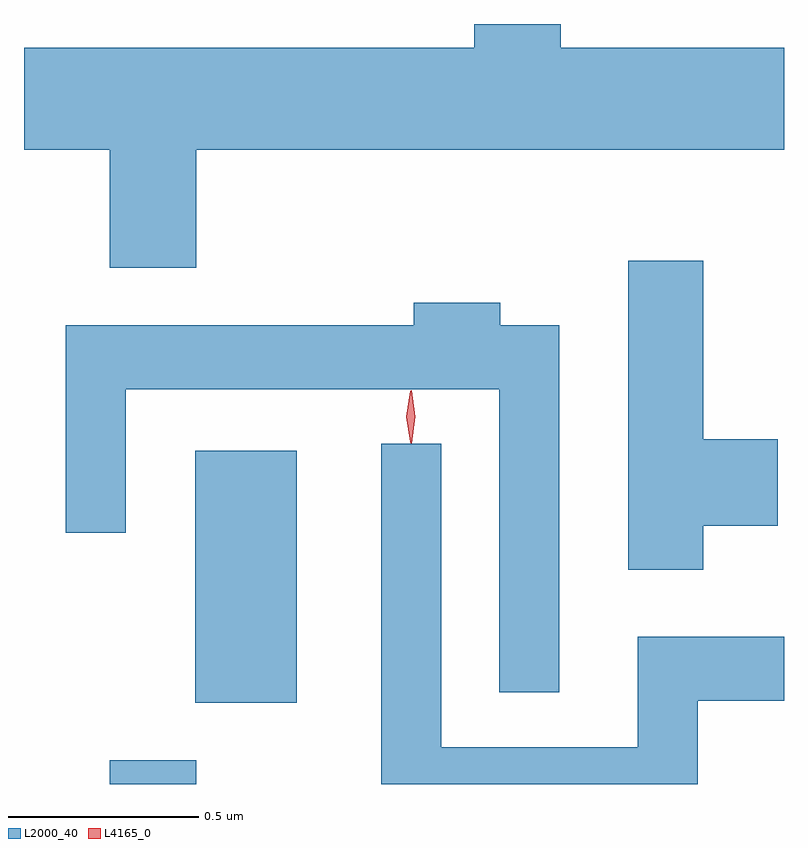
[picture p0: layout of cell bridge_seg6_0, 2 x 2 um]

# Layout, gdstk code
import gdstk
lib = gdstk.Library(unit=1e-6, precision=1e-09)
def R(c, l, rs):  # rectangles x0, y0, x1, y1
    for r in rs: c.add(gdstk.rectangle(r[:2], r[2:], *l))
def P(c, l, *ps):  # polygons
    for p in ps: c.add(gdstk.Polygon(p, *l))
L2000_40 = (2000, 40)
L4165_0 = (4165, 0)

bridge_seg6_0 = lib.new_cell('bridge_seg6_0')
R(bridge_seg6_0, L2000_40, [(1470.081,1634.947,1470.309,1635.009), (1470.306,1635.161,1470.574,1635.824)])
P(bridge_seg6_0, L2000_40, [(1469.856,1636.616),(1470.081,1636.616),(1470.081,1636.306),(1470.309,1636.306),(1470.309,1636.616),(1471.856,1636.616),(1471.856,1636.884),(1471.269,1636.884),(1471.269,1636.947),(1471.041,1636.947),(1471.041,1636.884),(1469.856,1636.884)],
  [(1471.644,1635.626),(1471.839,1635.626),(1471.839,1635.854),(1471.644,1635.854),(1471.644,1636.324),(1471.446,1636.324),(1471.446,1635.511),(1471.644,1635.511)],
  [(1471.264,1636.154),(1471.109,1636.154),(1471.109,1636.214),(1470.881,1636.214),(1470.881,1636.154),(1469.966,1636.154),(1469.966,1635.608),(1470.124,1635.608),(1470.124,1635.986),(1471.106,1635.986),(1471.106,1635.188),(1471.264,1635.188)],
  [(1471.629,1635.166),(1471.856,1635.166),(1471.856,1635.334),(1471.471,1635.334),(1471.471,1635.044),(1470.954,1635.044),(1470.954,1635.843),(1470.796,1635.843),(1470.796,1634.947),(1471.629,1634.947)])
P(bridge_seg6_0, L4165_0, [(1470.874,1635.844),(1470.865,1635.914),(1470.874,1635.982),(1470.875,1635.983),(1470.876,1635.982),(1470.885,1635.914),(1470.876,1635.844),(1470.875,1635.844)],
  [(1470.872,1635.847),(1470.872,1635.848),(1470.862,1635.914),(1470.872,1635.98),(1470.872,1635.98),(1470.873,1635.98),(1470.882,1635.914),(1470.873,1635.848)])

lib.write_gds('bridge_seg6_0.gds')
